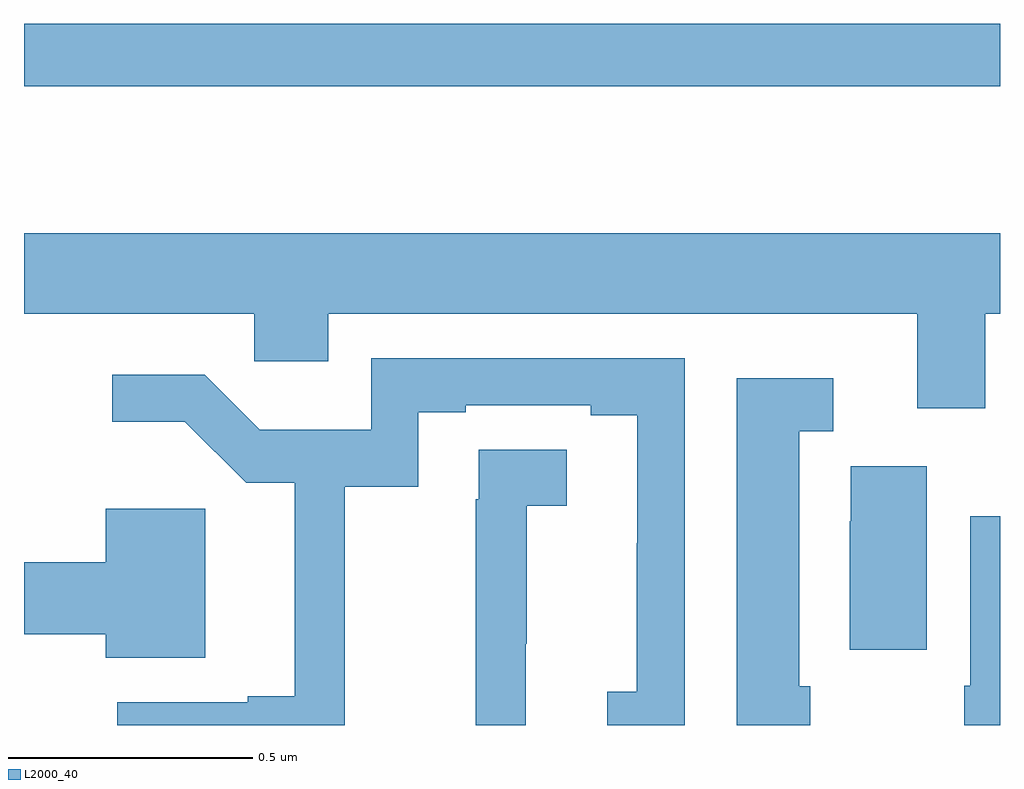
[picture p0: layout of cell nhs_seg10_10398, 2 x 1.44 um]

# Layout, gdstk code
import gdstk
lib = gdstk.Library(unit=1e-6, precision=1e-09)
def R(c, l, rs):  # rectangles x0, y0, x1, y1
    for r in rs: c.add(gdstk.rectangle(r[:2], r[2:], *l))
def P(c, l, *ps):  # polygons
    for p in ps: c.add(gdstk.Polygon(p, *l))
L2000_40 = (2000, 40)

nhs_seg10_10398 = lib.new_cell('nhs_seg10_10398')
R(nhs_seg10_10398, L2000_40, [(242,1272.81,244,1272.938)])
P(nhs_seg10_10398, L2000_40, [(243.97,1272.344),(244,1272.344),(244,1272.508),(242,1272.508),(242,1272.344),(242.472,1272.344),(242.472,1272.246),(242.623,1272.246),(242.623,1272.344),(243.83,1272.344),(243.83,1272.15),(243.97,1272.15)],
  [(242.657,1271.989),(242.808,1271.989),(242.808,1272.142),(242.905,1272.142),(242.905,1272.156),(243.161,1272.156),(243.161,1272.136),(243.257,1272.136),(243.257,1271.873),(243.256,1271.873),(243.256,1271.569),(243.195,1271.569),(243.195,1271.5),(243.354,1271.5),(243.354,1272.252),(242.712,1272.252),(242.712,1272.106),(242.483,1272.106),(242.37,1272.219),(242.181,1272.219),(242.181,1272.122),(242.329,1272.122),(242.455,1271.997),(242.555,1271.997),(242.555,1271.56),(242.459,1271.56),(242.459,1271.547),(242.191,1271.547),(242.191,1271.5),(242.657,1271.5)],
  [(243.611,1271.58),(243.589,1271.58),(243.589,1272.103),(243.658,1272.103),(243.658,1272.211),(243.461,1272.211),(243.461,1271.5),(243.611,1271.5)],
  [(243.028,1271.667),(243.03,1271.667),(243.03,1271.95),(243.112,1271.95),(243.112,1272.065),(242.932,1272.065),(242.932,1271.963),(242.926,1271.963),(242.926,1271.5),(243.028,1271.5)],
  [(243.85,1272.031),(243.694,1272.031),(243.694,1271.918),(243.692,1271.918),(243.692,1271.655),(243.85,1271.655)],
  [(242.371,1271.944),(242.168,1271.944),(242.168,1271.834),(242,1271.834),(242,1271.687),(242.168,1271.687),(242.168,1271.639),(242.371,1271.639)],
  [(244,1271.929),(243.939,1271.929),(243.939,1271.581),(243.927,1271.581),(243.927,1271.5),(244,1271.5)])

lib.write_gds('nhs_seg10_10398.gds')
